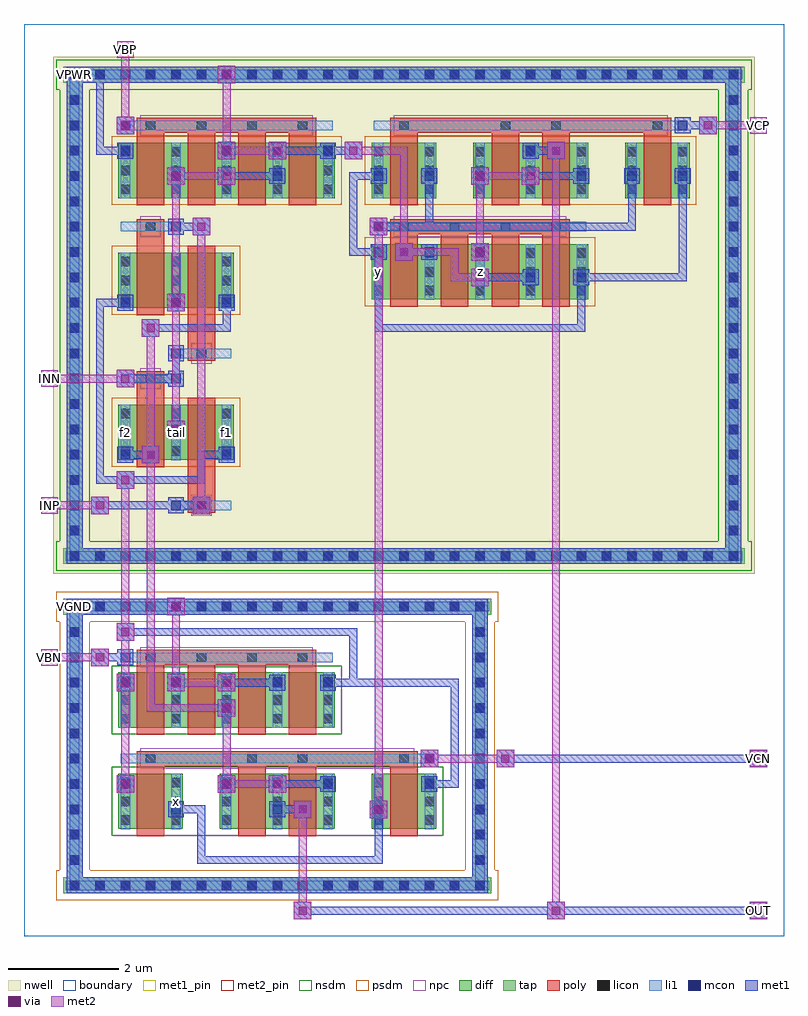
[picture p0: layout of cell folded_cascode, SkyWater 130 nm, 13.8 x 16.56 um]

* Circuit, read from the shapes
.subckt folded_cascode INN INP OUT VBN VBP VCN VCP VGND VPWR f1 f2 tail x y z
XM1 x VCN f1 VGND sky130_fd_pr__nfet_01v8 w=1 l=0.5 m=2
XM2 VGND VBN f1 VGND sky130_fd_pr__nfet_01v8 w=1 l=0.5 m=2
XM3 f2 VBN VGND VGND sky130_fd_pr__nfet_01v8 w=1 l=0.5 m=2
XM4 OUT VCN f2 VGND sky130_fd_pr__nfet_01v8 w=1 l=0.5 m=2
XM5 tail INN f2 VPWR sky130_fd_pr__pfet_01v8 w=1 l=0.5 m=2
XM6 tail INP f1 VPWR sky130_fd_pr__pfet_01v8 w=1 l=0.5 m=2
XM7 tail VBP VPWR VPWR sky130_fd_pr__pfet_01v8 w=1 l=0.5 m=4
XM8 VPWR x y VPWR sky130_fd_pr__pfet_01v8 w=1 l=0.5 m=2
XM9 x VCP y VPWR sky130_fd_pr__pfet_01v8 w=1 l=0.5 m=2
XM10 z x VPWR VPWR sky130_fd_pr__pfet_01v8 w=1 l=0.5 m=2
XM11 OUT VCP z VPWR sky130_fd_pr__pfet_01v8 w=1 l=0.5 m=2
.ends

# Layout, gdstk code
import gdstk
lib = gdstk.Library(unit=1e-6, precision=1e-09)
def R(c, l, rs):  # rectangles x0, y0, x1, y1
    for r in rs: c.add(gdstk.rectangle(r[:2], r[2:], *l))
def A(c, l, x, y, w, h, nx, ny, dx, dy):  # array of equal rectangles
    R(c, l, [(x+i*dx, y+j*dy, x+i*dx+w, y+j*dy+h) for i in range(nx) for j in range(ny)])
nwell = (64, 20)
diff = (65, 20)
tap = (65, 44)
poly = (66, 20)
licon = (66, 44)
li1 = (67, 20)
mcon = (67, 44)
met1_pin = (68, 16)
met1 = (68, 20)
via = (68, 44)
met2_pin = (69, 16)
met2 = (69, 20)
nsdm = (93, 44)
psdm = (94, 20)
npc = (95, 20)
boundary = (235, 4)

folded_cascode = lib.new_cell('folded_cascode')
R(folded_cascode, nwell, [(0.535,6.575,13.265,15.965)])
R(folded_cascode, diff, [(1.715,1.945,2.885,2.945), (3.555,1.945,5.645,2.945), (6.315,1.945,7.485,2.945), (1.715,3.785,5.645,4.785), (1.715,8.645,3.805,9.645), (1.715,11.405,3.805,12.405), (6.315,11.56,10.245,12.56), (1.715,13.4,5.645,14.4), (6.315,13.4,7.485,14.4), (8.155,13.4,10.245,14.4), (10.915,13.4,12.085,14.4)])
R(folded_cascode, tap, [(0.715,0.775,8.485,1.065), (0.775,0.775,1.065,6.125), (8.135,0.775,8.425,6.125), (0.715,5.835,8.485,6.125), (0.715,6.755,13.085,7.045), (0.775,6.755,1.065,15.785), (12.735,6.755,13.025,15.785), (0.715,15.495,13.085,15.785)])
A(folded_cascode, poly, 2.05, 3.655, 0.5, 1.405, 4, 1, 0.92, 0)
A(folded_cascode, poly, 6.65, 11.43, 0.5, 1.45, 4, 1, 0.92, 0)
A(folded_cascode, poly, 2.05, 13.27, 0.5, 1.45, 4, 1, 0.92, 0)
R(folded_cascode, poly, [(2.05,1.815,2.55,3.22), (3.89,1.815,4.39,3.22), (4.81,1.815,5.31,3.22), (6.65,1.815,7.15,3.22), (2.05,3.085,7.15,3.355), (2.05,4.925,5.31,5.195), (2.97,7.685,3.47,7.955), (2.97,7.82,3.47,9.775), (2.05,8.515,2.55,10.12), (2.05,9.985,2.55,10.255), (2.97,10.445,3.47,10.715), (2.97,10.58,3.47,12.535), (2.05,11.275,2.55,12.88), (2.05,12.745,2.55,13.015), (6.65,12.745,9.91,13.015), (6.65,13.27,7.15,14.72), (8.49,13.27,8.99,14.72), (9.41,13.27,9.91,14.72), (11.25,13.27,11.75,14.72), (2.05,14.585,5.31,14.855), (6.65,14.585,11.75,14.855)])
A(folded_cascode, licon, 0.835, 0.835, 0.17, 0.17, 17, 2, 0.46, 5.06)
A(folded_cascode, licon, 0.835, 1.295, 0.17, 0.17, 1, 10, 0, 0.46)
A(folded_cascode, licon, 8.195, 1.295, 0.17, 0.17, 1, 10, 0, 0.46)
A(folded_cascode, licon, 1.755, 2.02, 0.17, 0.17, 7, 3, 0.92, 0.34)
A(folded_cascode, licon, 1.755, 3.86, 0.17, 0.17, 5, 3, 0.92, 0.34)
A(folded_cascode, licon, 2.215, 4.975, 0.17, 0.17, 4, 2, 0.92, 9.66)
A(folded_cascode, licon, 0.835, 6.815, 0.17, 0.17, 27, 2, 0.46, 8.74)
A(folded_cascode, licon, 0.835, 7.275, 0.17, 0.17, 1, 18, 0, 0.46)
A(folded_cascode, licon, 12.795, 7.275, 0.17, 0.17, 1, 18, 0, 0.46)
A(folded_cascode, licon, 1.755, 8.72, 0.17, 0.17, 3, 3, 0.92, 0.34)
A(folded_cascode, licon, 1.755, 11.48, 0.17, 0.17, 3, 3, 0.92, 0.34)
A(folded_cascode, licon, 6.355, 11.635, 0.17, 0.17, 5, 3, 0.92, 0.34)
A(folded_cascode, licon, 6.815, 12.795, 0.17, 0.17, 4, 1, 0.92, 0)
A(folded_cascode, licon, 1.755, 13.475, 0.17, 0.17, 12, 3, 0.92, 0.34)
R(folded_cascode, licon, [(2.215,3.135,2.385,3.305), (4.055,3.135,4.225,3.305), (4.975,3.135,5.145,3.305), (6.815,3.135,6.985,3.305), (3.135,7.735,3.305,7.905), (2.215,10.035,2.385,10.205), (3.135,10.495,3.305,10.665), (2.215,12.795,2.385,12.965), (6.815,14.635,6.985,14.805), (8.655,14.635,8.825,14.805), (9.575,14.635,9.745,14.805), (11.415,14.635,11.585,14.805)])
A(folded_cascode, li1, 1.755, 1.94, 0.17, 1.01, 7, 1, 0.92, 0)
A(folded_cascode, li1, 1.755, 3.78, 0.17, 1.01, 5, 1, 0.92, 0)
A(folded_cascode, li1, 1.755, 8.64, 0.17, 1.01, 3, 2, 0.92, 2.76)
A(folded_cascode, li1, 6.355, 11.555, 0.17, 1.01, 5, 1, 0.92, 0)
A(folded_cascode, li1, 1.755, 13.395, 0.17, 1.01, 12, 1, 0.92, 0)
R(folded_cascode, li1, [(0.755,0.835,8.445,1.005), (0.835,0.835,1.005,6.065), (8.195,0.835,8.365,6.065), (1.755,3.135,7.445,3.305), (1.755,4.975,5.605,5.145), (0.755,5.895,8.445,6.065), (0.755,6.815,13.045,6.985), (0.835,6.815,1.005,15.725), (12.795,6.815,12.965,15.725), (2.675,7.735,3.765,7.905), (1.755,10.035,2.845,10.205), (2.675,10.495,3.765,10.665), (1.755,12.795,2.845,12.965), (6.355,12.795,10.205,12.965), (1.755,14.635,5.605,14.805), (6.355,14.635,12.045,14.805), (0.755,15.555,13.045,15.725)])
A(folded_cascode, mcon, 0.835, 0.835, 0.17, 0.17, 17, 2, 0.46, 5.06)
A(folded_cascode, mcon, 0.835, 2.215, 0.17, 0.17, 5, 1, 1.84, 0)
A(folded_cascode, mcon, 0.835, 2.675, 0.17, 0.17, 1, 4, 0, 0.46)
A(folded_cascode, mcon, 1.755, 2.675, 0.17, 0.17, 4, 1, 1.84, 0)
A(folded_cascode, mcon, 8.195, 2.675, 0.17, 0.17, 1, 7, 0, 0.46)
A(folded_cascode, mcon, 0.835, 4.515, 0.17, 0.17, 3, 1, 0.92, 0)
A(folded_cascode, mcon, 0.835, 6.815, 0.17, 0.17, 27, 2, 0.46, 8.74)
A(folded_cascode, mcon, 0.835, 7.275, 0.17, 0.17, 1, 9, 0, 0.46)
A(folded_cascode, mcon, 12.795, 7.275, 0.17, 0.17, 1, 14, 0, 0.46)
A(folded_cascode, mcon, 0.835, 11.415, 0.17, 0.17, 4, 1, 0.92, 0)
A(folded_cascode, mcon, 0.835, 11.875, 0.17, 0.17, 1, 4, 0, 0.46)
A(folded_cascode, mcon, 6.355, 12.335, 0.17, 0.17, 3, 1, 0.92, 0)
A(folded_cascode, mcon, 0.835, 13.715, 0.17, 0.17, 4, 1, 1.84, 0)
A(folded_cascode, mcon, 10.035, 13.715, 0.17, 0.17, 4, 1, 0.92, 0)
A(folded_cascode, mcon, 0.835, 14.175, 0.17, 0.17, 1, 3, 0, 0.46)
A(folded_cascode, mcon, 1.755, 14.175, 0.17, 0.17, 3, 1, 1.84, 0)
A(folded_cascode, mcon, 12.795, 14.175, 0.17, 0.17, 1, 3, 0, 0.46)
R(folded_cascode, mcon, [(0.835,1.295,1.005,1.465), (8.195,1.295,8.365,1.465), (0.835,1.755,1.005,1.925), (8.195,1.755,8.365,1.925), (7.275,3.135,7.445,3.305), (3.595,4.055,3.765,4.225), (4.515,4.515,4.685,4.685), (5.435,4.515,5.605,4.685), (0.835,4.975,1.005,5.145), (1.755,4.975,1.925,5.145), (0.835,5.435,1.005,5.605), (2.675,7.735,2.845,7.905), (1.755,8.655,1.925,8.825), (3.595,8.655,3.765,8.825), (2.675,9.115,2.845,9.285), (2.675,10.035,2.845,10.205), (2.675,10.495,2.845,10.665), (9.115,11.875,9.285,12.045), (10.035,11.875,10.205,12.045), (2.675,12.795,2.845,12.965), (6.355,12.795,6.525,12.965), (7.275,13.715,7.445,13.885), (8.195,13.715,8.365,13.885), (9.115,14.175,9.285,14.345), (1.755,14.635,1.925,14.805), (11.875,14.635,12.045,14.805)])
R(folded_cascode, met1_pin, [(0.85,5.91,0.99,6.05), (0.85,15.57,0.99,15.71)])
A(folded_cascode, met1, 2.615, 2.155, 0.29, 0.29, 3, 2, 1.84, 11.5)
A(folded_cascode, met1, 1.68, 2.6, 0.32, 0.32, 1, 3, 0, 2.76)
A(folded_cascode, met1, 1.695, 2.615, 0.29, 0.29, 4, 1, 1.84, 0)
A(folded_cascode, met1, 1.68, 4.44, 0.32, 0.32, 3, 1, 0.92, 0)
A(folded_cascode, met1, 2.6, 9.04, 0.32, 0.32, 1, 3, 0, 2.3)
A(folded_cascode, met1, 1.695, 11.355, 0.29, 0.29, 3, 1, 0.92, 0)
A(folded_cascode, met1, 6.295, 12.275, 0.29, 0.29, 3, 1, 0.92, 0)
A(folded_cascode, met1, 9.975, 13.655, 0.29, 0.29, 3, 1, 0.92, 0)
A(folded_cascode, met1, 1.695, 14.115, 0.29, 0.29, 3, 1, 1.84, 0)
R(folded_cascode, met1, [(4.9,0.3,5.22,0.62), (9.5,0.3,9.82,0.62), (13.18,0.3,13.5,0.62), (4.99,0.39,13.41,0.53), (0.775,0.775,8.425,1.065), (0.775,0.775,1.065,6.125), (8.135,0.775,8.425,6.125), (3.15,1.31,3.29,2.37), (3.15,1.31,6.51,1.45), (6.37,1.31,6.51,2.37), (4.9,2.14,5.22,2.46), (6.28,2.14,6.6,2.46), (2.69,2.23,3.29,2.37), (4.53,2.23,5.13,2.37), (3.52,2.6,3.84,2.92), (4.44,2.6,4.76,2.92), (4.53,2.69,5.59,2.83), (7.29,2.69,7.89,2.83), (7.75,2.69,7.89,4.67), (7.2,3.06,7.52,3.38), (8.58,3.06,8.9,3.38), (13.18,3.06,13.5,3.38), (7.215,3.075,7.505,3.365), (8.67,3.15,13.41,3.29), (3.52,3.98,3.84,4.3), (3.535,3.995,3.825,4.285), (1.695,4.455,1.985,4.745), (2.615,4.455,2.905,4.745), (4.455,4.455,4.745,4.745), (5.375,4.455,5.665,4.745), (3.61,4.53,4.67,4.67), (5.45,4.53,6.05,4.67), (5.91,4.53,7.89,4.67), (5.91,4.53,6.05,5.59), (1.22,4.9,1.54,5.22), (1.695,4.915,1.985,5.205), (1.31,4.99,1.91,5.13), (1.77,5.45,6.05,5.59), (2.6,5.82,2.92,6.14), (0.775,5.835,8.425,6.125), (0.85,5.91,2.83,6.05), (0.85,5.91,0.99,6.05), (2.69,5.91,2.83,6.05), (0.775,6.755,13.025,7.045), (0.775,6.755,1.065,15.785), (12.735,6.755,13.025,15.785), (1.22,7.66,1.54,7.98), (3.06,7.66,3.38,7.98), (2.615,7.675,2.905,7.965), (1.31,7.75,2.83,7.89), (2.69,7.75,3.29,7.89), (1.31,8.21,3.29,8.35), (1.31,8.21,1.45,11.57), (3.15,8.21,3.29,8.81), (2.14,8.58,2.46,8.9), (1.695,8.595,1.985,8.885), (3.535,8.595,3.825,8.885), (1.77,8.67,2.37,8.81), (3.15,8.67,3.75,8.81), (2.615,9.055,2.905,9.345), (1.68,9.96,2,10.28), (2.615,9.975,2.905,10.265), (1.77,10.05,2.83,10.19), (2.69,10.05,2.83,10.65), (2.615,10.435,2.905,10.725), (2.14,10.88,2.46,11.2), (2.23,10.97,3.75,11.11), (3.61,10.97,3.75,11.57), (6.37,10.97,10.19,11.11), (6.37,10.97,6.51,12.49), (10.05,10.97,10.19,12.03), (1.31,11.43,1.91,11.57), (8.12,11.8,8.44,12.12), (9.055,11.815,9.345,12.105), (9.975,11.815,10.265,12.105), (8.21,11.89,9.27,12.03), (10.05,11.89,12.03,12.03), (11.89,11.89,12.03,13.87), (6.74,12.26,7.06,12.58), (8.12,12.26,8.44,12.58), (5.91,12.35,6.51,12.49), (5.91,12.35,6.05,13.87), (6.83,12.35,7.43,12.49), (3.06,12.72,3.38,13.04), (6.28,12.72,6.6,13.04), (2.615,12.735,2.905,13.025), (6.295,12.735,6.585,13.025), (2.69,12.81,3.29,12.95), (6.37,12.81,7.43,12.95), (7.29,12.81,11.11,12.95), (7.29,12.81,7.43,13.87), (10.97,12.81,11.11,13.87), (3.52,13.64,3.84,13.96), (8.12,13.64,8.44,13.96), (9.04,13.64,9.36,13.96), (7.215,13.655,7.505,13.945), (8.135,13.655,8.425,13.945), (3.61,13.73,4.67,13.87), (5.91,13.73,6.51,13.87), (9.13,13.73,10.19,13.87), (3.52,14.1,3.84,14.42), (4.44,14.1,4.76,14.42), (5.82,14.1,6.14,14.42), (9.5,14.1,9.82,14.42), (9.055,14.115,9.345,14.405), (1.31,14.19,1.91,14.33), (1.31,14.19,1.45,15.71), (4.53,14.19,5.59,14.33), (5.45,14.19,6.05,14.33), (9.13,14.19,9.73,14.33), (1.68,14.56,2,14.88), (12.26,14.56,12.58,14.88), (1.695,14.575,1.985,14.865), (11.815,14.575,12.105,14.865), (11.89,14.65,12.49,14.79), (3.52,15.48,3.84,15.8), (0.775,15.495,13.025,15.785), (0.85,15.57,0.99,15.71), (0.85,15.57,3.75,15.71), (3.61,15.57,3.75,15.71)])
A(folded_cascode, via, 1.765, 2.685, 0.15, 0.15, 1, 3, 0, 2.76)
A(folded_cascode, via, 1.765, 4.525, 0.15, 0.15, 3, 1, 0.92, 0)
A(folded_cascode, via, 2.685, 9.125, 0.15, 0.15, 1, 3, 0, 2.3)
R(folded_cascode, via, [(4.985,0.385,5.135,0.535), (9.585,0.385,9.735,0.535), (13.265,0.385,13.415,0.535), (4.985,2.225,5.135,2.375), (6.365,2.225,6.515,2.375), (3.605,2.685,3.755,2.835), (4.525,2.685,4.675,2.835), (7.285,3.145,7.435,3.295), (8.665,3.145,8.815,3.295), (13.265,3.145,13.415,3.295), (3.605,4.065,3.755,4.215), (1.305,4.985,1.455,5.135), (2.685,5.905,2.835,6.055), (1.305,7.745,1.455,7.895), (3.145,7.745,3.295,7.895), (2.225,8.665,2.375,8.815), (1.765,10.045,1.915,10.195), (2.225,10.965,2.375,11.115), (8.205,11.885,8.355,12.035), (6.825,12.345,6.975,12.495), (8.205,12.345,8.355,12.495), (3.145,12.805,3.295,12.955), (6.365,12.805,6.515,12.955), (3.605,13.725,3.755,13.875), (8.205,13.725,8.355,13.875), (9.125,13.725,9.275,13.875), (3.605,14.185,3.755,14.335), (4.525,14.185,4.675,14.335), (5.905,14.185,6.055,14.335), (9.585,14.185,9.735,14.335), (1.765,14.645,1.915,14.795), (12.345,14.645,12.495,14.795), (3.605,15.565,3.755,15.715)])
R(folded_cascode, met2_pin, [(13.19,0.31,13.49,0.61), (13.19,3.07,13.49,3.37), (0.31,4.91,0.61,5.21), (0.31,7.67,0.61,7.97), (0.31,9.97,0.61,10.27), (13.19,14.57,13.49,14.87), (1.69,15.95,1.99,16.25)])
A(folded_cascode, met2, 1.68, 2.6, 0.32, 0.32, 1, 3, 0, 2.76)
A(folded_cascode, met2, 1.68, 4.44, 0.32, 0.32, 3, 1, 0.92, 0)
A(folded_cascode, met2, 2.6, 9.04, 0.32, 0.32, 1, 3, 0, 2.3)
R(folded_cascode, met2, [(4.9,0.3,5.22,0.62), (9.5,0.3,9.82,0.62), (13.18,0.3,13.5,0.62), (13.19,0.31,13.49,0.61), (4.99,0.39,5.13,2.37), (9.59,0.39,9.73,14.33), (13.27,0.39,13.41,0.53), (4.9,2.14,5.22,2.46), (6.28,2.14,6.6,2.46), (6.37,2.23,6.51,12.95), (3.52,2.6,3.84,2.92), (4.44,2.6,4.76,2.92), (1.77,2.69,1.91,4.67), (3.61,2.69,3.75,4.21), (3.61,2.69,4.67,2.83), (7.2,3.06,7.52,3.38), (8.58,3.06,8.9,3.38), (13.18,3.06,13.5,3.38), (13.19,3.07,13.49,3.37), (7.29,3.15,8.81,3.29), (13.27,3.15,13.41,3.29), (3.52,3.98,3.84,4.3), (2.23,4.07,3.75,4.21), (2.23,4.07,2.37,8.81), (1.77,4.53,1.91,8.35), (2.69,4.53,2.83,6.05), (2.69,4.53,3.75,4.67), (1.22,4.9,1.54,5.22), (0.31,4.91,0.61,5.21), (0.39,4.99,1.45,5.13), (0.39,4.99,0.53,5.13), (2.6,5.82,2.92,6.14), (1.22,7.66,1.54,7.98), (3.06,7.66,3.38,7.98), (0.31,7.67,0.61,7.97), (0.39,7.75,1.45,7.89), (0.39,7.75,0.53,7.89), (3.15,7.75,3.29,12.95), (2.14,8.58,2.46,8.9), (2.23,8.67,2.37,11.11), (2.69,9.13,2.83,11.57), (1.68,9.96,2,10.28), (0.31,9.97,0.61,10.27), (0.39,10.05,1.91,10.19), (0.39,10.05,0.53,10.19), (2.14,10.88,2.46,11.2), (2.69,11.43,2.83,13.87), (8.12,11.8,8.44,12.12), (7.75,11.89,7.89,12.49), (7.75,11.89,8.35,12.03), (6.74,12.26,7.06,12.58), (8.12,12.26,8.44,12.58), (6.83,12.35,7.89,12.49), (6.83,12.35,6.97,14.33), (8.21,12.35,8.35,13.87), (3.06,12.72,3.38,13.04), (6.28,12.72,6.6,13.04), (3.52,13.64,3.84,13.96), (8.12,13.64,8.44,13.96), (9.04,13.64,9.36,13.96), (2.69,13.73,3.75,13.87), (8.21,13.73,9.27,13.87), (3.52,14.1,3.84,14.42), (4.44,14.1,4.76,14.42), (5.82,14.1,6.14,14.42), (9.5,14.1,9.82,14.42), (3.61,14.19,3.75,15.71), (3.61,14.19,4.67,14.33), (5.91,14.19,6.97,14.33), (1.68,14.56,2,14.88), (12.26,14.56,12.58,14.88), (13.19,14.57,13.49,14.87), (1.77,14.65,1.91,16.17), (12.35,14.65,13.41,14.79), (13.27,14.65,13.41,14.79), (3.52,15.48,3.84,15.8), (1.69,15.95,1.99,16.25), (1.77,16.03,1.91,16.17)])
R(folded_cascode, nsdm, [(1.59,1.82,7.61,3.07), (1.59,3.66,5.77,4.91), (0.59,6.63,13.21,7.17), (0.65,7.17,1.19,15.37), (12.61,7.17,13.15,15.37), (0.59,15.37,13.21,15.91)])
R(folded_cascode, psdm, [(0.59,0.65,8.61,1.19), (0.65,1.19,1.19,5.71), (8.01,1.19,8.55,5.71), (0.59,5.71,8.61,6.25), (1.59,8.52,3.93,9.77), (1.59,11.28,3.93,12.53), (6.19,11.435,10.37,12.685), (1.59,13.275,5.77,14.525), (6.19,13.275,12.21,14.525)])
R(folded_cascode, npc, [(2.115,3.035,7.085,3.405), (2.115,4.875,5.245,5.245), (3.035,7.635,3.405,8.005), (2.115,9.935,2.485,10.305), (3.035,10.395,3.405,10.765), (2.115,12.695,2.485,13.065), (6.715,12.695,9.845,13.065), (2.115,14.535,5.245,14.905), (6.715,14.535,11.685,14.905)])
R(folded_cascode, boundary, [(0,0,13.8,16.56)])
folded_cascode.add(gdstk.Label('f2', (1.84,9.145), layer=67, texttype=5))
folded_cascode.add(gdstk.Label('tail', (2.76,9.145), layer=67, texttype=5))
folded_cascode.add(gdstk.Label('f1', (3.68,9.145), layer=67, texttype=5))
folded_cascode.add(gdstk.Label('x', (2.76,2.445), layer=67, texttype=5))
folded_cascode.add(gdstk.Label('y', (6.44,12.06), layer=67, texttype=5))
folded_cascode.add(gdstk.Label('z', (8.28,12.06), layer=67, texttype=5))
folded_cascode.add(gdstk.Label('VPWR', (0.92,15.64), layer=68, texttype=5))
folded_cascode.add(gdstk.Label('VGND', (0.92,5.98), layer=68, texttype=5))
folded_cascode.add(gdstk.Label('INP', (0.46,7.82), layer=69, texttype=5))
folded_cascode.add(gdstk.Label('INN', (0.46,10.12), layer=69, texttype=5))
folded_cascode.add(gdstk.Label('VBN', (0.46,5.06), layer=69, texttype=5))
folded_cascode.add(gdstk.Label('VCN', (13.34,3.22), layer=69, texttype=5))
folded_cascode.add(gdstk.Label('VBP', (1.84,16.1), layer=69, texttype=5))
folded_cascode.add(gdstk.Label('VCP', (13.34,14.72), layer=69, texttype=5))
folded_cascode.add(gdstk.Label('OUT', (13.34,0.46), layer=69, texttype=5))
folded_cascode.add(gdstk.Label('VPWR', (0.92,15.64), layer=68, texttype=16))
folded_cascode.add(gdstk.Label('VGND', (0.92,5.98), layer=68, texttype=16))
folded_cascode.add(gdstk.Label('INP', (0.46,7.82), layer=69, texttype=16))
folded_cascode.add(gdstk.Label('INN', (0.46,10.12), layer=69, texttype=16))
folded_cascode.add(gdstk.Label('VBN', (0.46,5.06), layer=69, texttype=16))
folded_cascode.add(gdstk.Label('VCN', (13.34,3.22), layer=69, texttype=16))
folded_cascode.add(gdstk.Label('VBP', (1.84,16.1), layer=69, texttype=16))
folded_cascode.add(gdstk.Label('VCP', (13.34,14.72), layer=69, texttype=16))
folded_cascode.add(gdstk.Label('OUT', (13.34,0.46), layer=69, texttype=16))

lib.write_gds('folded_cascode.gds')
